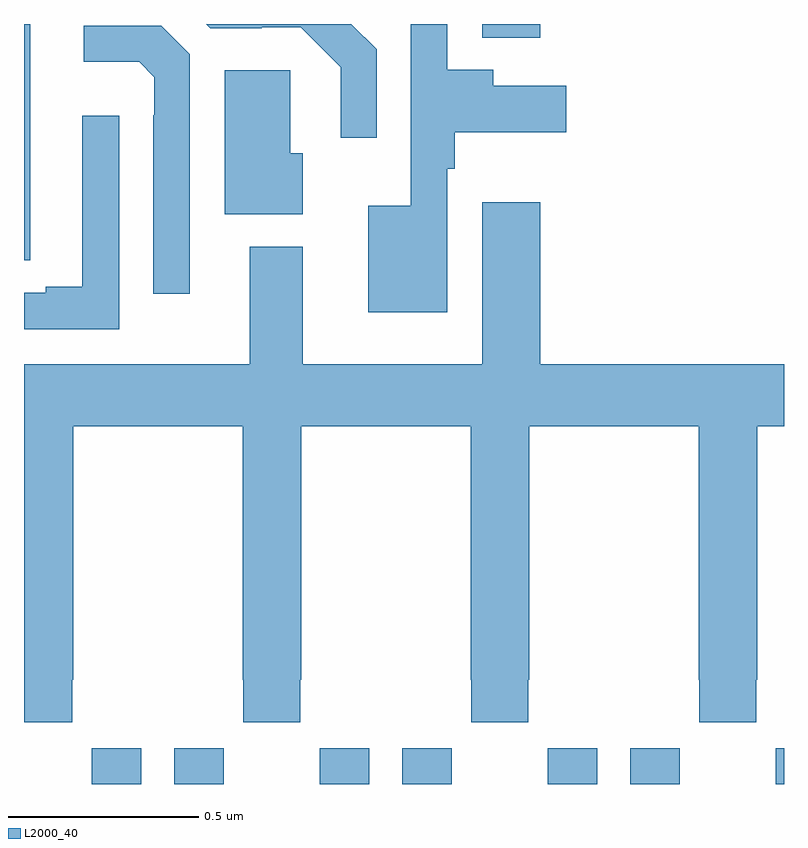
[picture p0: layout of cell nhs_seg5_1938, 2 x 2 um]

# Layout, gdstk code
import gdstk
lib = gdstk.Library(unit=1e-6, precision=1e-09)
def R(c, l, rs):  # rectangles x0, y0, x1, y1
    for r in rs: c.add(gdstk.rectangle(r[:2], r[2:], *l))
def P(c, l, *ps):  # polygons
    for p in ps: c.add(gdstk.Polygon(p, *l))
L2000_40 = (2000, 40)

nhs_seg5_1938 = lib.new_cell('nhs_seg5_1938')
R(nhs_seg5_1938, L2000_40, [(137.178,875.799,137.308,875.893), (137.396,875.799,137.526,875.893), (137.778,875.799,137.908,875.893), (137.996,875.799,138.126,875.893), (138.378,875.799,138.508,875.893), (138.596,875.799,138.726,875.893), (138.978,875.799,139,875.893), (138.206,877.763,138.359,877.799)])
P(nhs_seg5_1938, L2000_40, [(137.016,877.285),(137.017,877.285),(137.017,877.799),(137,877.799),(137,877.177),(137.016,877.177)],
  [(137.928,877.732),(137.861,877.799),(137.479,877.799),(137.49,877.788),(137.626,877.788),(137.626,877.79),(137.728,877.79),(137.834,877.685),(137.834,877.5),(137.928,877.5)],
  [(138.114,877.418),(138.134,877.418),(138.134,877.514),(138.427,877.514),(138.427,877.636),(138.235,877.636),(138.235,877.678),(138.114,877.678),(138.114,877.799),(138.018,877.799),(138.018,877.321),(137.906,877.321),(137.906,877.04),(138.114,877.04)],
  [(137.436,877.719),(137.361,877.794),(137.157,877.794),(137.157,877.7),(137.303,877.7),(137.343,877.659),(137.343,877.559),(137.34,877.559),(137.34,877.089),(137.436,877.089)],
  [(137.734,877.459),(137.701,877.459),(137.701,877.677),(137.528,877.677),(137.528,877.298),(137.734,877.298)],
  [(137.25,877.558),(137.153,877.558),(137.153,877.107),(137.057,877.107),(137.057,877.092),(137,877.092),(137,876.996),(137.25,876.996)],
  [(137,875.961),(137.127,875.961),(137.127,876.073),(137.13,876.073),(137.13,876.74),(137.575,876.74),(137.575,876.073),(137.577,876.073),(137.577,875.961),(137.727,875.961),(137.727,876.073),(137.73,876.073),(137.73,876.74),(138.175,876.74),(138.175,876.073),(138.177,876.073),(138.177,875.961),(138.327,875.961),(138.327,876.073),(138.33,876.073),(138.33,876.74),(138.775,876.74),(138.775,876.073),(138.777,876.073),(138.777,875.961),(138.927,875.961),(138.927,876.073),(138.93,876.073),(138.93,876.74),(139,876.74),(139,876.904),(138.359,876.904),(138.359,877.33),(138.206,877.33),(138.206,876.904),(137.734,876.904),(137.734,877.213),(137.594,877.213),(137.594,876.904),(137,876.904)])

lib.write_gds('nhs_seg5_1938.gds')
